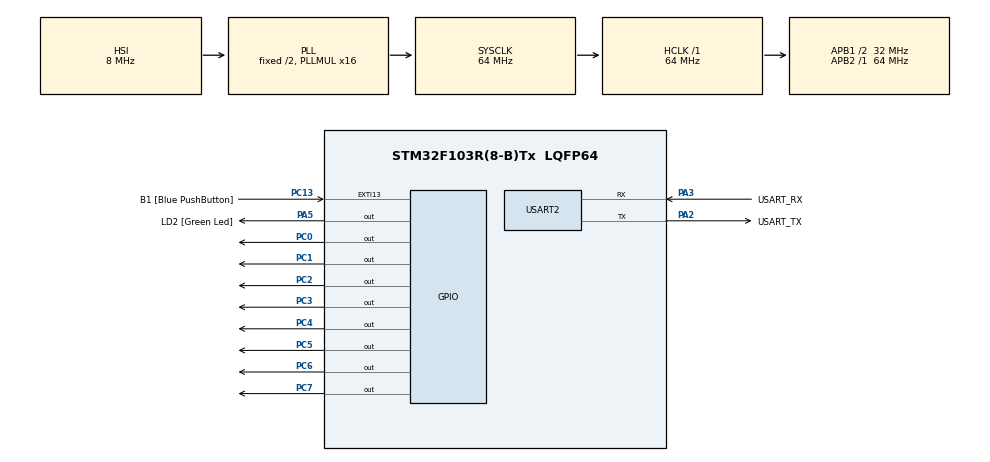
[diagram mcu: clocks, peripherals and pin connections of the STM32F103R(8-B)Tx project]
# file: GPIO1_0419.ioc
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Mcu.Family=STM32F1
Mcu.Name=STM32F103R(8-B)Tx
Mcu.Package=LQFP64
NVIC.EXTI15_10_IRQn=true\:0\:0\:false\:false\:true\:true\:true\:true
NVIC.PriorityGroup=NVIC_PRIORITYGROUP_4
PA13.GPIO_Label=TMS
PA13.Mode=Serial_Wire
PA13.Signal=SYS_JTMS-SWDIO
PA14.GPIO_Label=TCK
PA14.Mode=Serial_Wire
PA14.Signal=SYS_JTCK-SWCLK
PA2.GPIO_Label=USART_TX
PA2.GPIO_Mode=GPIO_MODE_AF_PP
PA2.GPIO_PuPd=GPIO_NOPULL
PA2.GPIO_Speed=GPIO_SPEED_FREQ_LOW
PA2.Mode=Asynchronous
PA2.Signal=USART2_TX
PA3.GPIO_Label=USART_RX
PA3.GPIO_Mode=GPIO_MODE_AF_PP
PA3.GPIO_PuPd=GPIO_NOPULL
PA3.GPIO_Speed=GPIO_SPEED_FREQ_LOW
PA3.Mode=Asynchronous
PA3.Signal=USART2_RX
PA5.GPIO_Label=LD2 [Green Led]
PA5.GPIO_ModeDefaultOutputPP=GPIO_MODE_OUTPUT_PP
PA5.GPIO_PuPd=GPIO_NOPULL
PA5.GPIO_Speed=GPIO_SPEED_FREQ_LOW
PA5.Signal=GPIO_Output
PB3.GPIO_Label=SWO
PB3.Signal=SYS_JTDO-TRACESWO
PC0.GPIO_Speed=GPIO_SPEED_FREQ_LOW
PC0.Signal=GPIO_Output
PC1.Signal=GPIO_Output
PC13-TAMPER-RTC.GPIO_Label=B1 [Blue PushButton]
PC13-TAMPER-RTC.GPIO_PuPd=GPIO_NOPULL
PC13-TAMPER-RTC.Signal=GPXTI13
PC14-OSC32_IN.Mode=LSE-External-Oscillator
PC14-OSC32_IN.Signal=RCC_OSC32_IN
PC15-OSC32_OUT.Mode=LSE-External-Oscillator
PC15-OSC32_OUT.Signal=RCC_OSC32_OUT
PC2.Signal=GPIO_Output
PC3.Signal=GPIO_Output
PC4.Signal=GPIO_Output
PC5.Signal=GPIO_Output
PC6.Signal=GPIO_Output
PC7.Signal=GPIO_Output
PD0-OSC_IN.Mode=HSE-External-Clock-Source
PD0-OSC_IN.Signal=RCC_OSC_IN
PD1-OSC_OUT.Mode=HSE-External-Clock-Source
PD1-OSC_OUT.Signal=RCC_OSC_OUT
ProjectManager.HeapSize=0x200
ProjectManager.StackSize=0x400
ProjectManager.TargetToolchain=STM32CubeIDE
RCC.AHBFreq_Value=64000000
RCC.APB1CLKDivider=RCC_HCLK_DIV2
RCC.APB1Freq_Value=32000000
RCC.APB1TimFreq_Value=64000000
RCC.APB2Freq_Value=64000000
RCC.APB2TimFreq_Value=64000000
RCC.HCLKFreq_Value=64000000
RCC.PLLMUL=RCC_PLL_MUL16
RCC.RTCClockSelection=RCC_RTCCLKSOURCE_LSE
RCC.SYSCLKFreq_VALUE=64000000
RCC.SYSCLKSource=RCC_SYSCLKSOURCE_PLLCLK
RCC.USBFreq_Value=64000000
USART2.VirtualMode=VM_ASYNC
board=NUCLEO-F103RB

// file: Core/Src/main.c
/* USER CODE BEGIN Header */
/**
  ******************************************************************************
  * @file           : main.c
  * @brief          : Main program body
  ******************************************************************************
  * @attention
  *
  * Copyright (c) 2022 STMicroelectronics.
  * All rights reserved.
  *
  * This software is licensed under terms that can be found in the LICENSE file
  * in the root directory of this software component.
  * If no LICENSE file comes with this software, it is provided AS-IS.
  *
  ******************************************************************************
  */
/* USER CODE END Header */
#include "main.h"

 UART_HandleTypeDef huart2;

void SystemClock_Config(void);
static void MX_GPIO_Init(void);
static void MX_USART2_UART_Init(void);

int main(void)
{
  /* USER CODE BEGIN 1 */
	unsigned char led = 0x01;
  /* USER CODE END 1 */

  /* MCU Configuration--------------------------------------------------------*/

  /* Reset of all peripherals, Initializes the Flash interface and the Systick. */
  HAL_Init();

  /* Configure the system clock */
  SystemClock_Config();

  /* Initialize all configured peripherals */
  MX_GPIO_Init();
  MX_USART2_UART_Init();
  /* USER CODE BEGIN 2 */
  HAL_GPIO_WritePin(GPIOC, GPIO_PIN_0|GPIO_PIN_1| GPIO_PIN_2|GPIO_PIN_3|GPIO_PIN_4|GPIO_PIN_5|GPIO_PIN_6|GPIO_PIN_7, GPIO_PIN_SET);
  HAL_Delay(1000);
  HAL_GPIO_WritePin(GPIOC, GPIO_PIN_0|GPIO_PIN_1| GPIO_PIN_2|GPIO_PIN_3|GPIO_PIN_4|GPIO_PIN_5|GPIO_PIN_6|GPIO_PIN_7, GPIO_PIN_RESET);
  HAL_Delay(1000);

  /* USER CODE END 2 */

  /* Infinite loop */
  /* USER CODE BEGIN WHILE */
  while (1)
  {
	  do{
		  HAL_GPIO_WritePin(GPIOC, led, GPIO_PIN_SET);
		  HAL_Delay(200);
		  HAL_GPIO_WritePin(GPIOC, led, GPIO_PIN_RESET);
		  HAL_Delay(200);
		  led = led << 1;
	  }while( led != 0x80);

	  do{
		  HAL_GPIO_WritePin(GPIOC, led, GPIO_PIN_SET);
		  HAL_Delay(200);
		  HAL_GPIO_WritePin(GPIOC, led, GPIO_PIN_RESET);
		  HAL_Delay(200);
		  led = led >> 1 ;
	  }while(led != 0x01);

    /* USER CODE END WHILE */

  }
}

void SystemClock_Config(void)
{
  RCC_OscInitTypeDef RCC_OscInitStruct = {0};
  RCC_ClkInitTypeDef RCC_ClkInitStruct = {0};

  /** Initializes the RCC Oscillators according to the specified parameters
  * in the RCC_OscInitTypeDef structure.
  */
  RCC_OscInitStruct.OscillatorType = RCC_OSCILLATORTYPE_HSI;
  RCC_OscInitStruct.HSIState = RCC_HSI_ON;
  RCC_OscInitStruct.HSICalibrationValue = RCC_HSICALIBRATION_DEFAULT;
  RCC_OscInitStruct.PLL.PLLState = RCC_PLL_ON;
  RCC_OscInitStruct.PLL.PLLSource = RCC_PLLSOURCE_HSI_DIV2;
  RCC_OscInitStruct.PLL.PLLMUL = RCC_PLL_MUL16;
  if (HAL_RCC_OscConfig(&RCC_OscInitStruct) != HAL_OK)
  {
    Error_Handler();
  }

  /** Initializes the CPU, AHB and APB buses clocks
  */
  RCC_ClkInitStruct.ClockType = RCC_CLOCKTYPE_HCLK|RCC_CLOCKTYPE_SYSCLK
                              |RCC_CLOCKTYPE_PCLK1|RCC_CLOCKTYPE_PCLK2;
  RCC_ClkInitStruct.SYSCLKSource = RCC_SYSCLKSOURCE_PLLCLK;
  RCC_ClkInitStruct.AHBCLKDivider = RCC_SYSCLK_DIV1;
  RCC_ClkInitStruct.APB1CLKDivider = RCC_HCLK_DIV2;
  RCC_ClkInitStruct.APB2CLKDivider = RCC_HCLK_DIV1;

  if (HAL_RCC_ClockConfig(&RCC_ClkInitStruct, FLASH_LATENCY_2) != HAL_OK)
  {
    Error_Handler();
  }
}

static void MX_USART2_UART_Init(void)
{

  huart2.Instance = USART2;
  huart2.Init.BaudRate = 115200;
  huart2.Init.WordLength = UART_WORDLENGTH_8B;
  huart2.Init.StopBits = UART_STOPBITS_1;
  huart2.Init.Parity = UART_PARITY_NONE;
  huart2.Init.Mode = UART_MODE_TX_RX;
  huart2.Init.HwFlowCtl = UART_HWCONTROL_NONE;
  huart2.Init.OverSampling = UART_OVERSAMPLING_16;
  if (HAL_UART_Init(&huart2) != HAL_OK)
  {
    Error_Handler();
  }

}

static void MX_GPIO_Init(void)
{
  GPIO_InitTypeDef GPIO_InitStruct = {0};

  /* GPIO Ports Clock Enable */
  __HAL_RCC_GPIOC_CLK_ENABLE();
  __HAL_RCC_GPIOD_CLK_ENABLE();
  __HAL_RCC_GPIOA_CLK_ENABLE();
  __HAL_RCC_GPIOB_CLK_ENABLE();

  /*Configure GPIO pin Output Level */
  HAL_GPIO_WritePin(GPIOC, GPIO_PIN_0|GPIO_PIN_1|GPIO_PIN_2|GPIO_PIN_3
                          |GPIO_PIN_4|GPIO_PIN_5|GPIO_PIN_6|GPIO_PIN_7, GPIO_PIN_RESET);

  /*Configure GPIO pin Output Level */
  HAL_GPIO_WritePin(LD2_GPIO_Port, LD2_Pin, GPIO_PIN_RESET);

  /*Configure GPIO pin : B1_Pin */
  GPIO_InitStruct.Pin = B1_Pin;
  GPIO_InitStruct.Mode = GPIO_MODE_IT_RISING;
  GPIO_InitStruct.Pull = GPIO_NOPULL;
  HAL_GPIO_Init(B1_GPIO_Port, &GPIO_InitStruct);

  /*Configure GPIO pins : PC0 PC1 PC2 PC3
                           PC4 PC5 PC6 PC7 */
  GPIO_InitStruct.Pin = GPIO_PIN_0|GPIO_PIN_1|GPIO_PIN_2|GPIO_PIN_3
                          |GPIO_PIN_4|GPIO_PIN_5|GPIO_PIN_6|GPIO_PIN_7;
  GPIO_InitStruct.Mode = GPIO_MODE_OUTPUT_PP;
  GPIO_InitStruct.Pull = GPIO_NOPULL;
  GPIO_InitStruct.Speed = GPIO_SPEED_FREQ_LOW;
  HAL_GPIO_Init(GPIOC, &GPIO_InitStruct);

  /*Configure GPIO pin : LD2_Pin */
  GPIO_InitStruct.Pin = LD2_Pin;
  GPIO_InitStruct.Mode = GPIO_MODE_OUTPUT_PP;
  GPIO_InitStruct.Pull = GPIO_NOPULL;
  GPIO_InitStruct.Speed = GPIO_SPEED_FREQ_LOW;
  HAL_GPIO_Init(LD2_GPIO_Port, &GPIO_InitStruct);

  /* EXTI interrupt init*/
  HAL_NVIC_SetPriority(EXTI15_10_IRQn, 0, 0);
  HAL_NVIC_EnableIRQ(EXTI15_10_IRQn);

}

void Error_Handler(void)
{
  __disable_irq();
  while (1)
  {
  }
}
